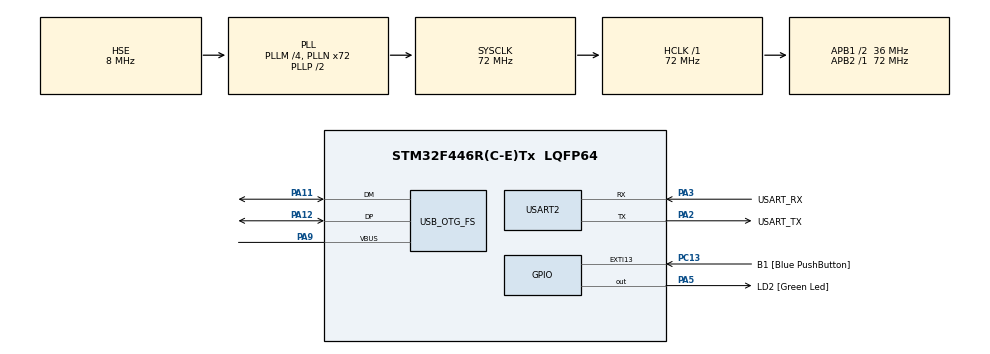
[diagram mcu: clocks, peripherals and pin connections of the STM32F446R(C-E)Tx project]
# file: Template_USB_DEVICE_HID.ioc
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Mcu.Family=STM32F4
Mcu.Name=STM32F446R(C-E)Tx
Mcu.Package=LQFP64
NVIC.OTG_FS_IRQn=true\:0\:0\:false\:false\:true\:false\:true\:true
NVIC.PriorityGroup=NVIC_PRIORITYGROUP_0
PA11.Mode=Device_Only
PA11.Signal=USB_OTG_FS_DM
PA12.Mode=Device_Only
PA12.Signal=USB_OTG_FS_DP
PA13.GPIO_Label=TMS
PA13.Mode=Serial_Wire
PA13.Signal=SYS_JTMS-SWDIO
PA14.GPIO_Label=TCK
PA14.Mode=Serial_Wire
PA14.Signal=SYS_JTCK-SWCLK
PA2.GPIO_Label=USART_TX
PA2.Mode=Asynchronous
PA2.Signal=USART2_TX
PA3.GPIO_Label=USART_RX
PA3.Mode=Asynchronous
PA3.Signal=USART2_RX
PA5.GPIO_Label=LD2 [Green Led]
PA5.Signal=GPIO_Output
PA9.Mode=Activate_VBUS
PA9.Signal=USB_OTG_FS_VBUS
PB3.GPIO_Label=SWO
PB3.Signal=SYS_JTDO-SWO
PC13.GPIO_Label=B1 [Blue PushButton]
PC13.GPIO_ModeDefaultEXTI=GPIO_MODE_IT_FALLING
PC13.Signal=GPXTI13
PC14-OSC32_IN.Mode=LSE-External-Oscillator
PC14-OSC32_IN.Signal=RCC_OSC32_IN
PC15-OSC32_OUT.Mode=LSE-External-Oscillator
PC15-OSC32_OUT.Signal=RCC_OSC32_OUT
PH0-OSC_IN.Mode=HSE-External-Oscillator
PH0-OSC_IN.Signal=RCC_OSC_IN
PH1-OSC_OUT.Mode=HSE-External-Oscillator
PH1-OSC_OUT.Signal=RCC_OSC_OUT
ProjectManager.HeapSize=0x600
ProjectManager.StackSize=0x400
ProjectManager.TargetToolchain=STM32CubeIDE
RCC.48MHZClocksFreq_Value=84000000
RCC.AHBFreq_Value=72000000
RCC.APB1CLKDivider=RCC_HCLK_DIV2
RCC.APB1Freq_Value=36000000
RCC.APB1TimFreq_Value=72000000
RCC.APB2Freq_Value=72000000
RCC.APB2TimFreq_Value=72000000
RCC.CortexFreq_Value=72000000
RCC.FLatency-AdvancedSettings=FLASH_LATENCY_2
RCC.HCLKFreq_Value=72000000
RCC.HSE_VALUE=8000000
RCC.HSI_VALUE=16000000
RCC.PLLM=4
RCC.PLLN=72
RCC.PLLQ=3
RCC.SYSCLKFreq_VALUE=72000000
RCC.SYSCLKSource=RCC_SYSCLKSOURCE_PLLCLK
RCC.USBFreq_Value=48000000
RCC.VCOOutputFreq_Value=144000000
USART2.VirtualMode=VM_ASYNC
USB_DEVICE.CLASS_NAME_FS=HID
USB_DEVICE.VirtualMode-HID_FS=Hid
USB_DEVICE.VirtualModeFS=Hid_FS
USB_OTG_FS.VirtualMode=Device_Only
VP_USB_DEVICE_VS_USB_DEVICE_HID_FS.Mode=HID_FS
board=NUCLEO-F446RE

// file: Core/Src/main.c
/* USER CODE BEGIN Header */
/**
  ******************************************************************************
  * @file           : main.c
  * @brief          : Main program body
  ******************************************************************************
  * @attention
  *
  * Copyright (c) 2025 STMicroelectronics.
  * All rights reserved.
  *
  * This software is licensed under terms that can be found in the LICENSE file
  * in the root directory of this software component.
  * If no LICENSE file comes with this software, it is provided AS-IS.
  *
  ******************************************************************************
  */

// Atenção: habilitar o modelo de HID desejado (keyboard ou mouse) no arquivo
// usbd_hid.h (Middlewares/ST/STM32_USB_Device_Library/Class/Inc)|

/* USER CODE END Header */
#include "main.h"
#include "usb_device.h"

/* USER CODE BEGIN Includes */
#include "usbd_hid.h"
/* USER CODE END Includes */

UART_HandleTypeDef huart2;

/* USER CODE BEGIN PV */
#ifdef keyboard
extern USBD_HandleTypeDef hUsbDeviceFS;

typedef struct
{
	uint8_t MODIFIER;
	uint8_t RESERVED;
	uint8_t KEYCODE1;
	uint8_t KEYCODE2;
	uint8_t KEYCODE3;
	uint8_t KEYCODE4;
	uint8_t KEYCODE5;
	uint8_t KEYCODE6;
} keyboardHID;

keyboardHID keyboardhid = {0,0,0,0,0,0,0,0};
#endif

#ifdef mouse
extern USBD_HandleTypeDef hUsbDeviceFS;

typedef struct
{
	uint8_t button;
	int8_t mouse_x;
	int8_t mouse_y;
	int8_t wheel;
} mouseHID;

mouseHID mousehid = {0,0,0,0};
uint8_t last = 0;
#endif

/* USER CODE END PV */

void SystemClock_Config(void);
static void MX_GPIO_Init(void);
static void MX_USART2_UART_Init(void);
/* USER CODE BEGIN PFP */
void envia_teclas(void);
void move_mouse(void);
/* USER CODE END PFP */

int main(void)
{

  /* MCU Configuration--------------------------------------------------------*/

  /* Reset of all peripherals, Initializes the Flash interface and the Systick. */
  HAL_Init();

  /* Configure the system clock */
  SystemClock_Config();

  /* Initialize all configured peripherals */
  MX_GPIO_Init();
  MX_USART2_UART_Init();
  MX_USB_DEVICE_Init();

  /* Infinite loop */
  while (1)
  {

    /* USER CODE BEGIN 3 */
#ifdef keyboard
	  //Envia um AB minúsculo a cada ~1s
	  keyboardhid.KEYCODE1 = 0x04; //Lecla A pressionada
	  keyboardhid.KEYCODE2 = 0x05; //Lecla B pressionada
	  USBD_HID_SendReport(&hUsbDeviceFS, (uint8_t*)&keyboardhid, sizeof(keyboardhid));
	  HAL_Delay(50);
	  keyboardhid.KEYCODE1 = 0x00; //Lecla A solta
	  keyboardhid.KEYCODE2 = 0x00; //Lecla B solta
	  USBD_HID_SendReport(&hUsbDeviceFS, (uint8_t*)&keyboardhid, sizeof(keyboardhid));
	  HAL_Delay(1000);

	  //Envia um AB maiúsculo a cada ~1s
	  keyboardhid.MODIFIER = 0x02; //Left shift pressionada
	  keyboardhid.KEYCODE1 = 0x04; //Lecla A pressionada
	  keyboardhid.KEYCODE2 = 0x05; //Lecla B pressionada
	  USBD_HID_SendReport(&hUsbDeviceFS, (uint8_t*)&keyboardhid, sizeof(keyboardhid));
	  HAL_Delay(50);
	  keyboardhid.MODIFIER = 0x00; //Left shift solta
	  keyboardhid.KEYCODE1 = 0x00; //Lecla A solta
	  keyboardhid.KEYCODE2 = 0x00; //Lecla B solta
	  USBD_HID_SendReport(&hUsbDeviceFS, (uint8_t*)&keyboardhid, sizeof(keyboardhid));
	  HAL_Delay(1000);

	  //Teste o botão e envia um mensagem padrão se pressionado
	  if(HAL_GPIO_ReadPin(B1_GPIO_Port, B1_Pin) == GPIO_PIN_RESET)
	  {
		  envia_teclas();
		  HAL_Delay(50);
	  }
#endif
#ifdef mouse
	  //Teste o botão e envia um mensagem padrão se pressionado
	  if(HAL_GPIO_ReadPin(B1_GPIO_Port, B1_Pin) == GPIO_PIN_RESET)
	  {
		  move_mouse();
		  HAL_Delay(50);
	  }
#endif
  }
  /* USER CODE END 3 */
}

void SystemClock_Config(void)
{
  RCC_OscInitTypeDef RCC_OscInitStruct = {0};
  RCC_ClkInitTypeDef RCC_ClkInitStruct = {0};

  /** Configure the main internal regulator output voltage
  */
  __HAL_RCC_PWR_CLK_ENABLE();
  __HAL_PWR_VOLTAGESCALING_CONFIG(PWR_REGULATOR_VOLTAGE_SCALE3);

  /** Initializes the RCC Oscillators according to the specified parameters
  * in the RCC_OscInitTypeDef structure.
  */
  RCC_OscInitStruct.OscillatorType = RCC_OSCILLATORTYPE_HSE;
  RCC_OscInitStruct.HSEState = RCC_HSE_ON;
  RCC_OscInitStruct.PLL.PLLState = RCC_PLL_ON;
  RCC_OscInitStruct.PLL.PLLSource = RCC_PLLSOURCE_HSE;
  RCC_OscInitStruct.PLL.PLLM = 4;
  RCC_OscInitStruct.PLL.PLLN = 72;
  RCC_OscInitStruct.PLL.PLLP = RCC_PLLP_DIV2;
  RCC_OscInitStruct.PLL.PLLQ = 3;
  RCC_OscInitStruct.PLL.PLLR = 2;
  if (HAL_RCC_OscConfig(&RCC_OscInitStruct) != HAL_OK)
  {
    Error_Handler();
  }

  /** Initializes the CPU, AHB and APB buses clocks
  */
  RCC_ClkInitStruct.ClockType = RCC_CLOCKTYPE_HCLK|RCC_CLOCKTYPE_SYSCLK
                              |RCC_CLOCKTYPE_PCLK1|RCC_CLOCKTYPE_PCLK2;
  RCC_ClkInitStruct.SYSCLKSource = RCC_SYSCLKSOURCE_PLLCLK;
  RCC_ClkInitStruct.AHBCLKDivider = RCC_SYSCLK_DIV1;
  RCC_ClkInitStruct.APB1CLKDivider = RCC_HCLK_DIV2;
  RCC_ClkInitStruct.APB2CLKDivider = RCC_HCLK_DIV1;

  if (HAL_RCC_ClockConfig(&RCC_ClkInitStruct, FLASH_LATENCY_2) != HAL_OK)
  {
    Error_Handler();
  }
}

static void MX_USART2_UART_Init(void)
{

  huart2.Instance = USART2;
  huart2.Init.BaudRate = 115200;
  huart2.Init.WordLength = UART_WORDLENGTH_8B;
  huart2.Init.StopBits = UART_STOPBITS_1;
  huart2.Init.Parity = UART_PARITY_NONE;
  huart2.Init.Mode = UART_MODE_TX_RX;
  huart2.Init.HwFlowCtl = UART_HWCONTROL_NONE;
  huart2.Init.OverSampling = UART_OVERSAMPLING_16;
  if (HAL_UART_Init(&huart2) != HAL_OK)
  {
    Error_Handler();
  }

}

static void MX_GPIO_Init(void)
{
  GPIO_InitTypeDef GPIO_InitStruct = {0};

  /* GPIO Ports Clock Enable */
  __HAL_RCC_GPIOC_CLK_ENABLE();
  __HAL_RCC_GPIOH_CLK_ENABLE();
  __HAL_RCC_GPIOA_CLK_ENABLE();
  __HAL_RCC_GPIOB_CLK_ENABLE();

  /*Configure GPIO pin Output Level */
  HAL_GPIO_WritePin(LD2_GPIO_Port, LD2_Pin, GPIO_PIN_RESET);

  /*Configure GPIO pin : B1_Pin */
  GPIO_InitStruct.Pin = B1_Pin;
  GPIO_InitStruct.Mode = GPIO_MODE_IT_FALLING;
  GPIO_InitStruct.Pull = GPIO_NOPULL;
  HAL_GPIO_Init(B1_GPIO_Port, &GPIO_InitStruct);

  /*Configure GPIO pin : LD2_Pin */
  GPIO_InitStruct.Pin = LD2_Pin;
  GPIO_InitStruct.Mode = GPIO_MODE_OUTPUT_PP;
  GPIO_InitStruct.Pull = GPIO_NOPULL;
  GPIO_InitStruct.Speed = GPIO_SPEED_FREQ_LOW;
  HAL_GPIO_Init(LD2_GPIO_Port, &GPIO_InitStruct);

}

/* USER CODE BEGIN 4 */
void envia_teclas(void)
{
#ifdef keyboard
	//Mensagem: "Apertou"
	keyboardhid.MODIFIER = 0x02; //Left shift pressionada
	keyboardhid.KEYCODE1 = 0x04; //Lecla A pressionada
	USBD_HID_SendReport(&hUsbDeviceFS, (uint8_t*)&keyboardhid, sizeof(keyboardhid));
	HAL_Delay(50);
	keyboardhid.MODIFIER = 0x00; //Left shift solta
	keyboardhid.KEYCODE1 = 0x00; //Lecla A solta
	USBD_HID_SendReport(&hUsbDeviceFS, (uint8_t*)&keyboardhid, sizeof(keyboardhid));
	HAL_Delay(50);
	keyboardhid.KEYCODE1 = 0x13; //Lecla p pressionada
	keyboardhid.KEYCODE2 = 0x08; //Lecla e pressionada
	keyboardhid.KEYCODE3 = 0x15; //Lecla r pressionada
	keyboardhid.KEYCODE4 = 0x17; //Lecla t pressionada
	keyboardhid.KEYCODE5 = 0x12; //Lecla o pressionada
	keyboardhid.KEYCODE6 = 0x18; //Lecla u pressionada
	USBD_HID_SendReport(&hUsbDeviceFS, (uint8_t*)&keyboardhid, sizeof(keyboardhid));
	HAL_Delay(50);
	keyboardhid.KEYCODE1 = 0x00; //Lecla p solta
	keyboardhid.KEYCODE2 = 0x00; //Lecla e solta
	keyboardhid.KEYCODE3 = 0x00; //Lecla r solta
	keyboardhid.KEYCODE4 = 0x00; //Lecla t solta
	keyboardhid.KEYCODE5 = 0x00; //Lecla o solta
	keyboardhid.KEYCODE6 = 0x00; //Lecla u solta
	USBD_HID_SendReport(&hUsbDeviceFS, (uint8_t*)&keyboardhid, sizeof(keyboardhid));
	HAL_Delay(50);
#endif
}

void move_mouse(void)
{
#ifdef mouse
	static int8_t desloca_x[4] = {30,0,-30,0};
	static int8_t desloca_y[4] = {0,-200,0,200};

	mousehid.mouse_x = desloca_x[last];
	mousehid.mouse_y = desloca_y[last];
	USBD_HID_SendReport(&hUsbDeviceFS,(uint8_t*)&mousehid, sizeof (mousehid));

	last++;
	if(last > 3) last = 0;

	HAL_Delay(500);
#endif
}
/* USER CODE END 4 */

void Error_Handler(void)
{
  __disable_irq();
  while (1)
  {
  }
}
